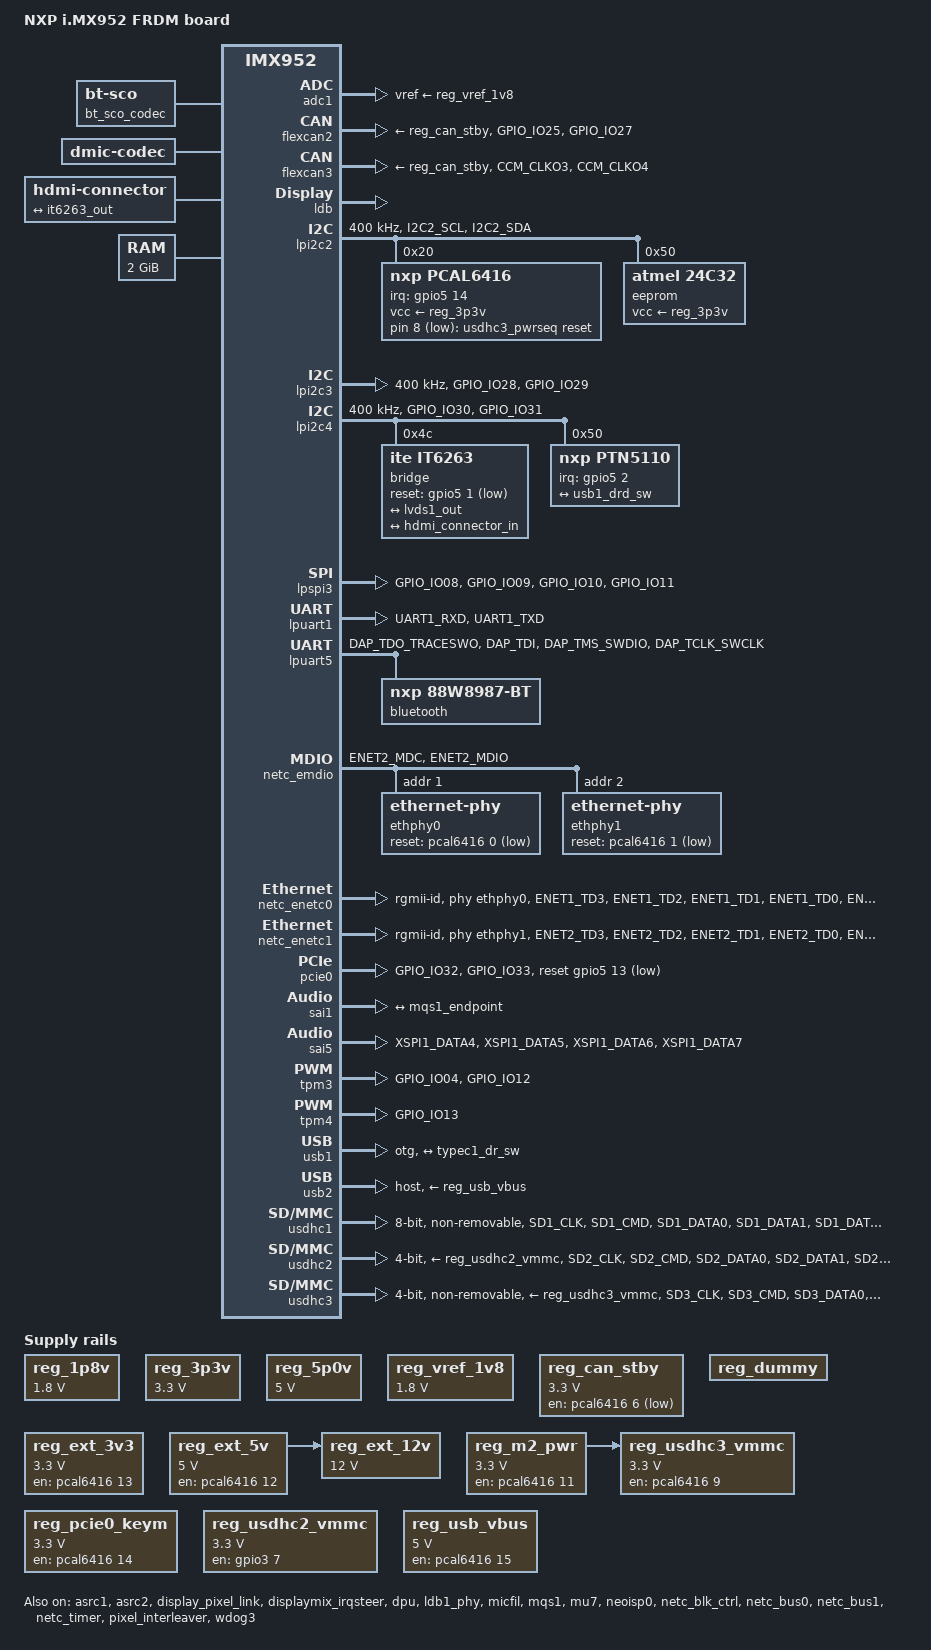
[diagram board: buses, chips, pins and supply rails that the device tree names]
// SPDX-License-Identifier: (GPL-2.0+ OR MIT)
/*
 * Copyright 2026 NXP
 */

#include <dt-bindings/usb/pd.h>

#define FALLING_EDGE		BIT(0)
#define RISING_EDGE		BIT(1)

#define BRD_SM_CTRL_SD3_WAKE		0x8000U /*!< PCAL6408A-0 */
#define BRD_SM_CTRL_M2M_WAKE		0x8003U /*!< PCAL6408A-6 */
#define BRD_SM_CTRL_BUTTON		0x8004U /*!< PCAL6408A-7 */

&ele_if0 {
	memory-region = <&ele_reserved>;
};

/ {
	compatible = "fsl,imx952-frdm", "fsl,imx952";
	model = "NXP i.MX952 FRDM board";

	aliases {
		dphy0 = &dphy_rx_0;
		dphy1 = &dphy_rx_1;
		ethernet0 = &netc_enetc0;
		ethernet1 = &netc_enetc1;
		gpio0 = &gpio1;
		gpio1 = &gpio2;
		gpio2 = &gpio3;
		gpio3 = &gpio4;
		gpio4 = &gpio5;
		i2c0 = &lpi2c1;
		i2c1 = &lpi2c2;
		i2c2 = &lpi2c3;
		i2c3 = &lpi2c4;
		i2c4 = &lpi2c5;
		i2c5 = &lpi2c6;
		i2c6 = &lpi2c7;
		i2c7 = &lpi2c8;
		mmc0 = &usdhc1;
		mmc1 = &usdhc2;
		serial0 = &lpuart1;
		serial4 = &lpuart5;
		spi2 = &lpspi3;
	};

	bt_sco_codec: audio-codec-bt-sco {
		compatible = "linux,bt-sco";
		#sound-dai-cells = <1>;
	};

	chosen {
		#address-cells = <2>;
		#size-cells = <2>;
		stdout-path = &lpuart1;

		/* will be updated by U-boot when booting Xen */
		module@0 {
			compatible = "xen,linux-zimage", "xen,multiboot-module";
			reg = <0x00000000 0x9e000000 0x00000000 0x2000000>;
			bootargs = "earlycon=xen console=hvc0 loglevel=8 root=/dev/mmcblk1p2 rw rootwait";
		};
	};

	dmic: dmic {
		compatible = "dmic-codec";
		#sound-dai-cells = <0>;
		num-channels = <2>;
	};

	hdmi-connector {
		compatible = "hdmi-connector";
		label = "hdmi";
		type = "a";

		port {
			hdmi_connector_in: endpoint {
				remote-endpoint = <&it6263_out>;
			};
		};
	};

	cm7: imx95-cm7 {
		compatible = "fsl,imx95-cm7";
		mboxes = <&mu7 0 1
			&mu7 1 1
			&mu7 3 1>;
		mbox-names = "tx", "rx", "rxdb";
		memory-region = <&vdevbuffer>, <&vdev0vring0>, <&vdev0vring1>,
				<&vdev1vring0>, <&vdev1vring1>, <&rsc_table>;
		/* cpuid and lmmid must align with SM firmware */
		fsl,cpu-id = <1>;
		fsl,lmm-id = <1>;
		fsl,startup-delay-ms = <50>;
		status = "okay";
	};

	reg_1p8v: regulator-1p8v {
		compatible = "regulator-fixed";
		regulator-name = "+V1.8_SW";
		regulator-max-microvolt = <1800000>;
		regulator-min-microvolt = <1800000>;
	};

	reg_3p3v: regulator-3p3v {
		compatible = "regulator-fixed";
		regulator-name = "+V3.3_SW";
		regulator-max-microvolt = <3300000>;
		regulator-min-microvolt = <3300000>;
	};

	reg_5p0v: regulator-5p0v {
		compatible = "regulator-fixed";
		regulator-name = "+V5.0_SW";
		regulator-max-microvolt = <5000000>;
		regulator-min-microvolt = <5000000>;
	};

	reg_vref_1v8: regulator-adc-vref {
		compatible = "regulator-fixed";
		regulator-name = "vref_1v8";
		regulator-max-microvolt = <1800000>;
		regulator-min-microvolt = <1800000>;
	};

	reg_can_stby: regulator-can-stby {
		compatible = "regulator-fixed";
		regulator-name = "can-stby";
		regulator-max-microvolt = <3300000>;
		regulator-min-microvolt = <3300000>;
		gpio = <&pcal6416 6 GPIO_ACTIVE_LOW>;
	};

	reg_dummy: regulator-dummy {
		compatible = "regulator-fixed";
		regulator-name = "dummy";
	};

	reg_ext_12v: regulator-ext-12v {
		compatible = "regulator-fixed";
		regulator-name = "VCCEXT_12V";
		regulator-max-microvolt = <12000000>;
		regulator-min-microvolt = <12000000>;
		vin-supply = <&reg_ext_5v>;
	};

	reg_ext_3v3: regulator-ext-3v3 {
		compatible = "regulator-fixed";
		regulator-name = "VCCEXT_3V3";
		regulator-max-microvolt = <3300000>;
		regulator-min-microvolt = <3300000>;
		gpio = <&pcal6416 13 GPIO_ACTIVE_HIGH>;
		enable-active-high;
		regulator-always-on;
	};

	reg_ext_5v: regulator-ext-5v {
		compatible = "regulator-fixed";
		regulator-name = "VCCEXT_5V";
		regulator-max-microvolt = <5000000>;
		regulator-min-microvolt = <5000000>;
		gpio = <&pcal6416 12 GPIO_ACTIVE_HIGH>;
		enable-active-high;
		regulator-always-on;
	};

	reg_m2_pwr: regulator-m2-pwr {
		compatible = "regulator-fixed";
		regulator-name = "M.2-power";
		regulator-max-microvolt = <3300000>;
		regulator-min-microvolt = <3300000>;
		gpio = <&pcal6416 11 GPIO_ACTIVE_HIGH>;
		enable-active-high;
	};

	reg_pcie0_keym: regulator-pcie-keym {
		compatible = "regulator-fixed";
		regulator-name = "PCIe slot-power";
		regulator-max-microvolt = <3300000>;
		regulator-min-microvolt = <3300000>;
		gpio = <&pcal6416 14 GPIO_ACTIVE_HIGH>;
		enable-active-high;
	};

	reg_usdhc2_vmmc: regulator-usdhc2 {
		compatible = "regulator-fixed";
		regulator-name = "VDD_SD2_3V3";
		off-on-delay-us = <12000>;
		pinctrl-0 = <&pinctrl_reg_usdhc2_vmmc>;
		pinctrl-names = "default";
		regulator-max-microvolt = <3300000>;
		regulator-min-microvolt = <3300000>;
		gpio = <&gpio3 7 GPIO_ACTIVE_HIGH>;
		enable-active-high;
	};

	reg_usdhc3_vmmc: regulator-usdhc3 {
		compatible = "regulator-fixed";
		regulator-name = "WLAN_EN";
		regulator-max-microvolt = <3300000>;
		regulator-min-microvolt = <3300000>;
		vin-supply = <&reg_m2_pwr>;
		gpio = <&pcal6416 9 GPIO_ACTIVE_HIGH>;
		enable-active-high;
		/*
		 * IW612 wifi chip needs more delay than other wifi chips to complete
		 * the host interface initialization after power up, otherwise the
		 * internal state of IW612 may be unstable, resulting in the failure of
		 * the SDIO3.0 switch voltage.
		 */
		startup-delay-us = <20000>;
	};

	reg_usb_vbus: regulator-vbus {
		compatible = "regulator-fixed";
		regulator-name = "USB_VBUS";
		regulator-max-microvolt = <5000000>;
		regulator-min-microvolt = <5000000>;
		gpio = <&pcal6416 15 GPIO_ACTIVE_HIGH>;
		enable-active-high;
	};

	reserved-memory {
		ranges;
		#address-cells = <2>;
		#size-cells = <2>;

		linux_cma: linux,cma {
			compatible = "shared-dma-pool";
			alloc-ranges = <0 0x80000000 0 0x7f000000>;
			reusable;
			size = <0 0x3c000000>;
			linux,cma-default;
		};

		mali_protected: mali_protected {
			reg = <0 0xa0100000 0 0x1000000>;
			no-map;
		};

		vdev0vring0: vdev0vring0@88000000 {
			reg = <0 0x88000000 0 0x8000>;
			no-map;
		};

		vdev0vring1: vdev0vring1@88008000 {
			reg = <0 0x88008000 0 0x8000>;
			no-map;
		};

		vdev1vring0: vdev1vring0@88010000 {
			reg = <0 0x88010000 0 0x8000>;
			no-map;
		};

		vdev1vring1: vdev1vring1@88018000 {
			reg = <0 0x88018000 0 0x8000>;
			no-map;
		};

		vdevbuffer: vdevbuffer@88020000 {
			compatible = "shared-dma-pool";
			reg = <0 0x88020000 0 0x100000>;
			no-map;
		};

		rsc_table: rsc-table@88220000 {
			reg = <0 0x88220000 0 0x1000>;
			no-map;
		};

		vpudec_boot: vpudec-boot@88300000 {
			reg = <0 0x88300000 0 0x200000>;
			no-map;
		};

		vpuenc_boot: vpuenc-boot@88500000 {
			reg = <0 0x88500000 0 0x100000>;
			no-map;
		};

		ele_reserved: ele-reserved@a4120000 {
			compatible = "shared-dma-pool";
			reg = <0 0xa4120000 0 0x100000>;
			no-map;
		};

		prime_reserved: prime-reserved@170000000 {
			compatible = "shared-dma-pool";
			reg = <0x00000001 0x70000000 0x00000000 0x10000000>;
			no-map;
		};
	};

	mali_pma: protected-memory-allocator {
		compatible = "arm,protected-memory-allocator";
		memory-region = <&mali_protected>;
	};

	sound-bt-sco {
		compatible = "simple-audio-card";
		simple-audio-card,bitclock-inversion;
		simple-audio-card,bitclock-master = <&btcpu>;
		simple-audio-card,format = "dsp_a";
		simple-audio-card,frame-master = <&btcpu>;
		simple-audio-card,name = "bt-sco-audio";

		simple-audio-card,codec {
			sound-dai = <&bt_sco_codec 1>;
		};

		btcpu: simple-audio-card,cpu {
			dai-tdm-slot-num = <2>;
			dai-tdm-slot-width = <16>;
			sound-dai = <&sai5>;
		};
	};

	sound-micfil {
		compatible = "fsl,imx-audio-card";
		model = "micfil-audio";

		pri-dai-link {
			format = "i2s";
			link-name = "micfil hifi";

			codec {
				sound-dai = <&dmic>;
			};

			cpu {
				sound-dai = <&micfil>;
			};
		};
	};

	sound-mqs {
		compatible = "audio-graph-card2";
		label = "mqs-audio";
		links = <&sai1_port1>;
	};

	usdhc3_pwrseq: usdhc3-pwrseq {
		compatible = "mmc-pwrseq-simple";
		reset-gpios = <&pcal6416 8 GPIO_ACTIVE_LOW>;
	};

	memory@80000000 {
		device_type = "memory";
		reg = <0x0 0x80000000 0 0x80000000>;
	};
};

&adc1 {
	vref-supply = <&reg_vref_1v8>;
	status = "okay";
};

&asrc1 {
	assigned-clocks = <&scmi_clk IMX952_CLK_AUDIOPLL1_VCO>,
			  <&scmi_clk IMX952_CLK_AUDIOPLL2_VCO>,
			  <&scmi_clk IMX952_CLK_AUDIOPLL1>,
			  <&scmi_clk IMX952_CLK_AUDIOPLL2>,
			  <&scmi_clk IMX952_CLK_ASRC1>;
	assigned-clock-parents = <0>, <0>, <0>, <0>,
				 <&scmi_clk IMX952_CLK_AUDIOPLL1>;
	assigned-clock-rates = <3932160000>, <3612672000>,
			       <393216000>, <361267200>, <49152000>;
	fsl,asrc-rate = <48000>;
	status = "okay";
};

&asrc2 {
	assigned-clocks = <&scmi_clk IMX952_CLK_AUDIOPLL1_VCO>,
			  <&scmi_clk IMX952_CLK_AUDIOPLL2_VCO>,
			  <&scmi_clk IMX952_CLK_AUDIOPLL1>,
			  <&scmi_clk IMX952_CLK_AUDIOPLL2>,
			  <&scmi_clk IMX952_CLK_ASRC2>;
	assigned-clock-parents = <0>, <0>, <0>, <0>,
				 <&scmi_clk IMX952_CLK_AUDIOPLL1>;
	assigned-clock-rates = <3932160000>, <3612672000>,
			       <393216000>, <361267200>, <49152000>;
	fsl,asrc-rate = <48000>;
	status = "okay";
};

&display_pixel_link {
	status = "okay";
};

&displaymix_irqsteer {
	status = "okay";
};

&dpu {
	status = "okay";
};

&flexcan2 {
	pinctrl-0 = <&pinctrl_flexcan2>;
	pinctrl-names = "default";
	xceiver-supply = <&reg_can_stby>;
	status = "okay";
};

&flexcan3 {
	pinctrl-0 = <&pinctrl_flexcan3>;
	pinctrl-names = "default";
	xceiver-supply = <&reg_can_stby>;
	status = "okay";
};

&ldb1_phy {
	status = "okay";
};

&ldb {
	status = "okay";

	channel@1 {
		status = "okay";

		port@1 {
			lvds1_out: endpoint {
				remote-endpoint = <&it6263_in>;
			};
		};
	};
};

&lpi2c2 {
	clock-frequency = <400000>;
	pinctrl-0 = <&pinctrl_lpi2c2>;
	pinctrl-names = "default";
	status = "okay";

	pcal6416: gpio@20 {
		compatible = "nxp,pcal6416";
		reg = <0x20>;
		#interrupt-cells = <2>;
		interrupt-controller;
		interrupt-parent = <&gpio5>;
		interrupts = <14 IRQ_TYPE_LEVEL_LOW>;
		#gpio-cells = <2>;
		gpio-controller;
		pinctrl-0 = <&pinctrl_pcal6416>;
		pinctrl-names = "default";
		vcc-supply = <&reg_3p3v>;

		/* When low, select CAN; When high, select gpio. */
		can-gpio-sel-hog {
			gpios = <4 GPIO_ACTIVE_HIGH>;
			gpio-hog;
			output-low;
		};
	};

	eeprom@50 {
		compatible = "atmel,24c32";
		reg = <0x50>;
		pagesize = <32>;
		vcc-supply = <&reg_3p3v>;
	};
};

&lpi2c3 {
	clock-frequency = <400000>;
	pinctrl-0 = <&pinctrl_lpi2c3>;
	pinctrl-names = "default";
	status = "okay";
};

&lpi2c4 {
	clock-frequency = <400000>;
	pinctrl-0 = <&pinctrl_lpi2c4>;
	pinctrl-names = "default";
	status = "okay";

	bridge@4c {
		compatible = "ite,it6263";
		reg = <0x4c>;
		pinctrl-0 = <&pinctrl_it6263>;
		pinctrl-names = "default";
		reset-gpios = <&gpio5 1 GPIO_ACTIVE_LOW>;

		ports {
			#address-cells = <1>;
			#size-cells = <0>;

			port@0 {
				reg = <0>;

				it6263_in: endpoint {
					remote-endpoint = <&lvds1_out>;
				};
			};

			port@1 {
				reg = <1>;

				it6263_out: endpoint {
					remote-endpoint = <&hdmi_connector_in>;
				};
			};
		};
	};

	ptn5110: tcpc@50 {
		compatible = "nxp,ptn5110", "tcpci";
		reg = <0x50>;
		interrupt-parent = <&gpio5>;
		interrupts = <2 IRQ_TYPE_LEVEL_LOW>;
		pinctrl-0 = <&pinctrl_ptn5110>;
		pinctrl-names = "default";

		typec_con: connector {
			compatible = "usb-c-connector";
			data-role = "dual";
			label = "USB-C";
			op-sink-microwatt = <0>;
			power-role = "dual";
			self-powered;
			sink-pdos = <PDO_FIXED(5000, 0, PDO_FIXED_USB_COMM)>;
			source-pdos = <PDO_FIXED(5000, 3000, PDO_FIXED_USB_COMM)>;
			try-power-role = "sink";

			ports {
				#address-cells = <1>;
				#size-cells = <0>;

				port@0 {
					reg = <0>;

					typec1_dr_sw: endpoint {
						remote-endpoint = <&usb1_drd_sw>;
					};
				};
			};
		};
	};
};

&lpspi3 {
	cs-gpios = <&gpio2 8 GPIO_ACTIVE_LOW>;
	pinctrl-0 = <&pinctrl_lpspi3>;
	pinctrl-names = "default";
	status = "okay";
};

&lpuart1 {
	/* console */
	pinctrl-names = "default";
	pinctrl-0 = <&pinctrl_uart1>;
	status = "okay";
};

&lpuart5 {
	/* BT */
	pinctrl-names = "default";
	pinctrl-0 = <&pinctrl_uart5>;
	status = "okay";

	bluetooth {
		compatible = "nxp,88w8987-bt";
	};
};

&micfil {
	assigned-clocks = <&scmi_clk IMX952_CLK_AUDIOPLL1_VCO>,
			  <&scmi_clk IMX952_CLK_AUDIOPLL2_VCO>,
			  <&scmi_clk IMX952_CLK_AUDIOPLL1>,
			  <&scmi_clk IMX952_CLK_AUDIOPLL2>,
			  <&scmi_clk IMX952_CLK_PDM>;
	assigned-clock-parents = <0>, <0>, <0>, <0>,
				<&scmi_clk IMX952_CLK_AUDIOPLL1>;
	assigned-clock-rates = <3932160000>, <3612672000>,
			       <393216000>, <361267200>, <49152000>;
	pinctrl-0 = <&pinctrl_pdm>;
	pinctrl-1 = <&pinctrl_pdm_sleep>;
	pinctrl-names = "default", "sleep";
	status = "okay";
};

&mqs1 {
	clocks = <&scmi_clk IMX952_CLK_SAI1>;
	clock-names = "mclk";
	#sound-dai-cells = <0>;
	pinctrl-0 = <&pinctrl_mqs1>;
	pinctrl-names = "default";
	status = "okay";

	mqs1_port: port {
		dai-format = "left_j";
		playback-only;

		mqs1_endpoint: endpoint {
			remote-endpoint = <&sai1_endpoint1>;
		};
	};
};

&mu7 {
	status = "okay";
};

&neoisp0 {
	status = "okay";
};

&netc_blk_ctrl {
	status = "okay";
};

&netc_bus0 {
	status = "okay";
};

&netc_bus1 {
	status = "okay";
};

&netc_emdio {
	pinctrl-0 = <&pinctrl_emdio>;
	pinctrl-names = "default";
	status = "okay";

	ethphy0: ethernet-phy@1 {
		reg = <1>;
		reset-assert-us = <10000>;
		reset-deassert-us = <80000>;
		reset-gpios = <&pcal6416 0 GPIO_ACTIVE_LOW>;
	};

	ethphy1: ethernet-phy@2 {
		reg = <2>;
		reset-assert-us = <10000>;
		reset-deassert-us = <80000>;
		reset-gpios = <&pcal6416 1 GPIO_ACTIVE_LOW>;
	};
};

&netc_enetc0 {
	phy-handle = <&ethphy0>;
	phy-mode = "rgmii-id";
	pinctrl-0 = <&pinctrl_enetc0>;
	pinctrl-names = "default";
	status = "okay";
};

&netc_enetc1 {
	clocks = <&scmi_clk IMX952_CLK_ENETREF>;
	clock-names = "ref";
	phy-handle = <&ethphy1>;
	phy-mode = "rgmii-id";
	pinctrl-0 = <&pinctrl_enetc1>;
	pinctrl-names = "default";
	status = "okay";
};

&netc_timer {
	status = "okay";
};

&pcie0 {
	pinctrl-0 = <&pinctrl_pcie0>;
	pinctrl-names = "default";
	reset-gpio = <&gpio5 13 GPIO_ACTIVE_LOW>;
	supports-clkreq;
	vpcie3v3aux-supply = <&reg_pcie0_keym>;
	status = "okay";
};

&pixel_interleaver {
	#address-cells = <1>;
	#size-cells = <0>;
	status = "okay";

	channel@1 {
		reg = <1>;
		status = "okay";
	};
};

&sai1 {
	clocks = <&scmi_clk IMX952_CLK_BUSAON>, <&clk_dummy>,
		 <&scmi_clk IMX952_CLK_SAI1>, <&clk_dummy>,
		 <&clk_dummy>, <&scmi_clk IMX952_CLK_AUDIOPLL1>,
		 <&scmi_clk IMX952_CLK_AUDIOPLL2>;
	clock-names = "bus", "mclk0", "mclk1", "mclk2", "mclk3", "pll8k", "pll11k";
	assigned-clocks = <&scmi_clk IMX952_CLK_AUDIOPLL1_VCO>,
			  <&scmi_clk IMX952_CLK_AUDIOPLL2_VCO>,
			  <&scmi_clk IMX952_CLK_AUDIOPLL1>,
			  <&scmi_clk IMX952_CLK_AUDIOPLL2>,
			  <&scmi_clk IMX952_CLK_SAI1>;
	assigned-clock-parents = <0>, <0>, <0>, <0>,
				 <&scmi_clk IMX952_CLK_AUDIOPLL1>;
	assigned-clock-rates = <3932160000>, <3612672000>,
			       <393216000>, <361267200>, <24576000>;
	fsl,sai-mclk-direction-output;
	status = "okay";

	ports {
		#address-cells = <1>;
		#size-cells = <0>;

		sai1_port1: port@1 {
			reg = <1>;
			bitclock-master;
			dai-format = "left_j";
			frame-master;
			mclk-fs = <512>;
			playback-only;

			sai1_endpoint1: endpoint {
				remote-endpoint = <&mqs1_endpoint>;
				system-clock-direction-out;
			};
		};
	};
};

&sai5 {
	assigned-clocks = <&scmi_clk IMX952_CLK_AUDIOPLL1_VCO>,
			  <&scmi_clk IMX952_CLK_AUDIOPLL2_VCO>,
			  <&scmi_clk IMX952_CLK_AUDIOPLL1>,
			  <&scmi_clk IMX952_CLK_AUDIOPLL2>,
			  <&scmi_clk IMX952_CLK_SAI5>;
	assigned-clock-parents = <0>, <0>, <0>, <0>, <&scmi_clk IMX952_CLK_AUDIOPLL1>;
	assigned-clock-rates = <3932160000>, <3612672000>, <393216000>, <361267200>, <12288000>;
	#sound-dai-cells = <0>;
	pinctrl-0 = <&pinctrl_sai5>;
	pinctrl-names = "default";
	fsl,sai-mclk-direction-output;
	status = "okay";
};

&scmi_iomuxc {
	pinctrl_emdio: emdiogrp {
		fsl,pins = <
			IMX952_PAD_ENET2_MDC__NETCMIX_TOP_NETC_MDC		0x50e
			IMX952_PAD_ENET2_MDIO__NETCMIX_TOP_NETC_MDIO		0x90e
		>;
	};

	pinctrl_enetc0: enetc0grp {
		fsl,pins = <
			IMX952_PAD_ENET1_TD3__NETCMIX_TOP_ETH0_RGMII_TD3	0x50e
			IMX952_PAD_ENET1_TD2__NETCMIX_TOP_ETH0_RGMII_TD2	0x50e
			IMX952_PAD_ENET1_TD1__NETCMIX_TOP_ETH0_RGMII_TD1	0x50e
			IMX952_PAD_ENET1_TD0__NETCMIX_TOP_ETH0_RGMII_TD0	0x50e
			IMX952_PAD_ENET1_TX_CTL__NETCMIX_TOP_ETH0_RGMII_TX_CTL	0x50e
			IMX952_PAD_ENET1_TXC__NETCMIX_TOP_ETH0_RGMII_TX_CLK	0x58e
			IMX952_PAD_ENET1_RX_CTL__NETCMIX_TOP_ETH0_RGMII_RX_CTL	0x50e
			IMX952_PAD_ENET1_RXC__NETCMIX_TOP_ETH0_RGMII_RX_CLK	0x58e
			IMX952_PAD_ENET1_RD0__NETCMIX_TOP_ETH0_RGMII_RD0	0x50e
			IMX952_PAD_ENET1_RD1__NETCMIX_TOP_ETH0_RGMII_RD1	0x50e
			IMX952_PAD_ENET1_RD2__NETCMIX_TOP_ETH0_RGMII_RD2	0x50e
			IMX952_PAD_ENET1_RD3__NETCMIX_TOP_ETH0_RGMII_RD3	0x50e
		>;
	};

	pinctrl_enetc1: enetc1grp {
		fsl,pins = <
			IMX952_PAD_ENET2_TD3__NETCMIX_TOP_ETH1_RGMII_TD3	0x50e
			IMX952_PAD_ENET2_TD2__NETCMIX_TOP_ETH1_RGMII_TD2	0x50e
			IMX952_PAD_ENET2_TD1__NETCMIX_TOP_ETH1_RGMII_TD1	0x50e
			IMX952_PAD_ENET2_TD0__NETCMIX_TOP_ETH1_RGMII_TD0	0x50e
			IMX952_PAD_ENET2_TX_CTL__NETCMIX_TOP_ETH1_RGMII_TX_CTL	0x50e
			IMX952_PAD_ENET2_TXC__NETCMIX_TOP_ETH1_RGMII_TX_CLK	0x58e
			IMX952_PAD_ENET2_RX_CTL__NETCMIX_TOP_ETH1_RGMII_RX_CTL	0x50e
			IMX952_PAD_ENET2_RXC__NETCMIX_TOP_ETH1_RGMII_RX_CLK	0x58e
			IMX952_PAD_ENET2_RD0__NETCMIX_TOP_ETH1_RGMII_RD0	0x50e
			IMX952_PAD_ENET2_RD1__NETCMIX_TOP_ETH1_RGMII_RD1	0x50e
			IMX952_PAD_ENET2_RD2__NETCMIX_TOP_ETH1_RGMII_RD2	0x50e
			IMX952_PAD_ENET2_RD3__NETCMIX_TOP_ETH1_RGMII_RD3	0x50e
		>;
	};

	pinctrl_flexcan2: flexcan2grp {
		fsl,pins = <
			IMX952_PAD_GPIO_IO25__WAKEUPMIX_TOP_CAN2_TX		0x39e
			IMX952_PAD_GPIO_IO27__WAKEUPMIX_TOP_CAN2_RX		0x39e
		>;
	};

	pinctrl_flexcan3: flexcan3grp {
		fsl,pins = <
			IMX952_PAD_CCM_CLKO3__WAKEUPMIX_TOP_CAN3_TX		0x39e
			IMX952_PAD_CCM_CLKO4__WAKEUPMIX_TOP_CAN3_RX		0x39e
		>;
	};

	pinctrl_it6263: it6263grp {
		fsl,pins = <
			IMX952_PAD_XSPI1_DATA1__WAKEUPMIX_TOP_GPIO5_IO_1	0x31e
		>;
	};

	pinctrl_lpi2c2: lpi2c2grp {
		fsl,pins = <
			IMX952_PAD_I2C2_SCL__AONMIX_TOP_LPI2C2_SCL		0x40000b9e
			IMX952_PAD_I2C2_SDA__AONMIX_TOP_LPI2C2_SDA		0x40000b9e
		>;
	};

	pinctrl_lpi2c3: lpi2c3grp {
		fsl,pins = <
			IMX952_PAD_GPIO_IO28__WAKEUPMIX_TOP_LPI2C3_SDA		0x40000b9e
			IMX952_PAD_GPIO_IO29__WAKEUPMIX_TOP_LPI2C3_SCL		0x40000b9e
		>;
	};

	pinctrl_lpi2c4: lpi2c4grp {
		fsl,pins = <
			IMX952_PAD_GPIO_IO30__WAKEUPMIX_TOP_LPI2C4_SDA		0x40000b9e
			IMX952_PAD_GPIO_IO31__WAKEUPMIX_TOP_LPI2C4_SCL		0x40000b9e
		>;
	};

	pinctrl_lpspi3: lpspi3grp {
		fsl,pins = <
			IMX952_PAD_GPIO_IO08__WAKEUPMIX_TOP_GPIO2_IO_8		0x39e
			IMX952_PAD_GPIO_IO09__WAKEUPMIX_TOP_LPSPI3_SIN		0x39e
			IMX952_PAD_GPIO_IO10__WAKEUPMIX_TOP_LPSPI3_SOUT		0x39e
			IMX952_PAD_GPIO_IO11__WAKEUPMIX_TOP_LPSPI3_SCK		0x39e
		>;
	};

	pinctrl_mqs1: mqs1grp {
		fsl,pins = <
			IMX952_PAD_SAI1_TXFS__AONMIX_TOP_MQS1_LEFT		0x31e
			IMX952_PAD_SAI1_RXD0__AONMIX_TOP_MQS1_RIGHT		0x31e
		>;
	};

	pinctrl_pcal6416: pcal6416grp {
		fsl,pins = <
			IMX952_PAD_GPIO_IO34__WAKEUPMIX_TOP_GPIO5_IO_14		0x31e
		>;
	};

	pinctrl_pcie0: pcie0grp {
		fsl,pins = <
			IMX952_PAD_GPIO_IO32__HSIOMIX_TOP_PCIE1_CLKREQ_B	0x4000031e
			IMX952_PAD_GPIO_IO33__WAKEUPMIX_TOP_GPIO5_IO_13		0x31e
		>;
	};

	pinctrl_pdm: pdmgrp {
		fsl,pins = <
			IMX952_PAD_PDM_CLK__AONMIX_TOP_PDM_CLK				0x31e
			IMX952_PAD_PDM_BIT_STREAM0__AONMIX_TOP_PDM_BIT_STREAM_0		0x31e
		>;
	};

	pinctrl_pdm_sleep: pdmsleepgrp {
		fsl,pins = <
			IMX952_PAD_PDM_CLK__AONMIX_TOP_GPIO1_IO_8		0x31e
			IMX952_PAD_PDM_BIT_STREAM0__AONMIX_TOP_GPIO1_IO_9	0x31e
		>;
	};

	pinctrl_ptn5110: ptn5110grp {
		fsl,pins = <
			IMX952_PAD_XSPI1_DATA2__WAKEUPMIX_TOP_GPIO5_IO_2	0x31e
		>;
	};

	pinctrl_reg_usdhc2_vmmc: regusdhc2vmmcgrp {
		fsl,pins = <
			IMX952_PAD_SD2_RESET_B__WAKEUPMIX_TOP_GPIO3_IO_7	0x31e
		>;
	};

	pinctrl_sai5: sai5grp {
		fsl,pins = <
			IMX952_PAD_XSPI1_DATA4__WAKEUPMIX_TOP_SAI5_TX_DATA_0		0x31e
			IMX952_PAD_XSPI1_DATA5__WAKEUPMIX_TOP_SAI5_TX_SYNC		0x31e
			IMX952_PAD_XSPI1_DATA6__WAKEUPMIX_TOP_SAI5_TX_BCLK		0x31e
			IMX952_PAD_XSPI1_DATA7__WAKEUPMIX_TOP_SAI5_RX_DATA_0		0x31e
		>;
	};

	pinctrl_tpm3: tpm3grp {
		fsl,pins = <
			IMX952_PAD_GPIO_IO04__WAKEUPMIX_TOP_TPM3_CH0		0x51e
			IMX952_PAD_GPIO_IO12__WAKEUPMIX_TOP_TPM3_CH2		0x51e
		>;
	};

	pinctrl_tpm4: tpm4grp {
		fsl,pins = <
			IMX952_PAD_GPIO_IO13__WAKEUPMIX_TOP_TPM4_CH2		0x51e
		>;
	};

	pinctrl_uart1: uart1grp {
		fsl,pins = <
			IMX952_PAD_UART1_RXD__AONMIX_TOP_LPUART1_RX		0x31e
			IMX952_PAD_UART1_TXD__AONMIX_TOP_LPUART1_TX		0x31e
		>;
	};

	pinctrl_uart5: uart5grp {
		fsl,pins = <
			IMX952_PAD_DAP_TDO_TRACESWO__WAKEUPMIX_TOP_LPUART5_TX	0x31e
			IMX952_PAD_DAP_TDI__WAKEUPMIX_TOP_LPUART5_RX		0x31e
			IMX952_PAD_DAP_TMS_SWDIO__WAKEUPMIX_TOP_LPUART5_RTS_B	0x31e
			IMX952_PAD_DAP_TCLK_SWCLK__WAKEUPMIX_TOP_LPUART5_CTS_B	0x31e
		>;
	};

	pinctrl_usdhc1: usdhc1grp {
		fsl,pins = <
			IMX952_PAD_SD1_CLK__WAKEUPMIX_TOP_USDHC1_CLK		0x158e
			IMX952_PAD_SD1_CMD__WAKEUPMIX_TOP_USDHC1_CMD		0x138e
			IMX952_PAD_SD1_DATA0__WAKEUPMIX_TOP_USDHC1_DATA0	0x138e
			IMX952_PAD_SD1_DATA1__WAKEUPMIX_TOP_USDHC1_DATA1	0x138e
			IMX952_PAD_SD1_DATA2__WAKEUPMIX_TOP_USDHC1_DATA2	0x138e
			IMX952_PAD_SD1_DATA3__WAKEUPMIX_TOP_USDHC1_DATA3	0x138e
			IMX952_PAD_SD1_DATA4__WAKEUPMIX_TOP_USDHC1_DATA4	0x138e
			IMX952_PAD_SD1_DATA5__WAKEUPMIX_TOP_USDHC1_DATA5	0x138e
			IMX952_PAD_SD1_DATA6__WAKEUPMIX_TOP_USDHC1_DATA6	0x138e
			IMX952_PAD_SD1_DATA7__WAKEUPMIX_TOP_USDHC1_DATA7	0x138e
			IMX952_PAD_SD1_STROBE__WAKEUPMIX_TOP_USDHC1_STROBE	0x158e
		>;
	};

	pinctrl_usdhc1_100mhz: usdhc1-100mhzgrp {
		fsl,pins = <
			IMX952_PAD_SD1_CLK__WAKEUPMIX_TOP_USDHC1_CLK		0x158e
			IMX952_PAD_SD1_CMD__WAKEUPMIX_TOP_USDHC1_CMD		0x138e
			IMX952_PAD_SD1_DATA0__WAKEUPMIX_TOP_USDHC1_DATA0	0x138e
			IMX952_PAD_SD1_DATA1__WAKEUPMIX_TOP_USDHC1_DATA1	0x138e
			IMX952_PAD_SD1_DATA2__WAKEUPMIX_TOP_USDHC1_DATA2	0x138e
			IMX952_PAD_SD1_DATA3__WAKEUPMIX_TOP_USDHC1_DATA3	0x138e
			IMX952_PAD_SD1_DATA4__WAKEUPMIX_TOP_USDHC1_DATA4	0x138e
			IMX952_PAD_SD1_DATA5__WAKEUPMIX_TOP_USDHC1_DATA5	0x138e
			IMX952_PAD_SD1_DATA6__WAKEUPMIX_TOP_USDHC1_DATA6	0x138e
			IMX952_PAD_SD1_DATA7__WAKEUPMIX_TOP_USDHC1_DATA7	0x138e
			IMX952_PAD_SD1_STROBE__WAKEUPMIX_TOP_USDHC1_STROBE	0x158e
		>;
	};

	pinctrl_usdhc1_200mhz: usdhc1-200mhzgrp {
		fsl,pins = <
			IMX952_PAD_SD1_CLK__WAKEUPMIX_TOP_USDHC1_CLK		0x159e
			IMX952_PAD_SD1_CMD__WAKEUPMIX_TOP_USDHC1_CMD		0x139e
			IMX952_PAD_SD1_DATA0__WAKEUPMIX_TOP_USDHC1_DATA0	0x139e
			IMX952_PAD_SD1_DATA1__WAKEUPMIX_TOP_USDHC1_DATA1	0x139e
			IMX952_PAD_SD1_DATA2__WAKEUPMIX_TOP_USDHC1_DATA2	0x139e
			IMX952_PAD_SD1_DATA3__WAKEUPMIX_TOP_USDHC1_DATA3	0x139e
			IMX952_PAD_SD1_DATA4__WAKEUPMIX_TOP_USDHC1_DATA4	0x139e
			IMX952_PAD_SD1_DATA5__WAKEUPMIX_TOP_USDHC1_DATA5	0x139e
			IMX952_PAD_SD1_DATA6__WAKEUPMIX_TOP_USDHC1_DATA6	0x139e
			IMX952_PAD_SD1_DATA7__WAKEUPMIX_TOP_USDHC1_DATA7	0x139e
			IMX952_PAD_SD1_STROBE__WAKEUPMIX_TOP_USDHC1_STROBE	0x159e
		>;
	};

	pinctrl_usdhc2_gpio: usdhc2gpiogrp {
		fsl,pins = <
			IMX952_PAD_SD2_CD_B__WAKEUPMIX_TOP_GPIO3_IO_0		0x31e
		>;
	};

	pinctrl_usdhc2: usdhc2grp {
		fsl,pins = <
			IMX952_PAD_SD2_CLK__WAKEUPMIX_TOP_USDHC2_CLK		0x158e
			IMX952_PAD_SD2_CMD__WAKEUPMIX_TOP_USDHC2_CMD		0x138e
			IMX952_PAD_SD2_DATA0__WAKEUPMIX_TOP_USDHC2_DATA0	0x138e
			IMX952_PAD_SD2_DATA1__WAKEUPMIX_TOP_USDHC2_DATA1	0x138e
			IMX952_PAD_SD2_DATA2__WAKEUPMIX_TOP_USDHC2_DATA2	0x138e
			IMX952_PAD_SD2_DATA3__WAKEUPMIX_TOP_USDHC2_DATA3	0x138e
			IMX952_PAD_SD2_VSELECT__WAKEUPMIX_TOP_USDHC2_VSELECT	0x51e
		>;
	};

	pinctrl_usdhc2_100mhz: usdhc2-100mhzgrp {
		fsl,pins = <
			IMX952_PAD_SD2_CLK__WAKEUPMIX_TOP_USDHC2_CLK		0x158e
			IMX952_PAD_SD2_CMD__WAKEUPMIX_TOP_USDHC2_CMD		0x138e
			IMX952_PAD_SD2_DATA0__WAKEUPMIX_TOP_USDHC2_DATA0	0x138e
			IMX952_PAD_SD2_DATA1__WAKEUPMIX_TOP_USDHC2_DATA1	0x138e
			IMX952_PAD_SD2_DATA2__WAKEUPMIX_TOP_USDHC2_DATA2	0x138e
			IMX952_PAD_SD2_DATA3__WAKEUPMIX_TOP_USDHC2_DATA3	0x138e
			IMX952_PAD_SD2_VSELECT__WAKEUPMIX_TOP_USDHC2_VSELECT	0x51e
		>;
	};

	pinctrl_usdhc2_200mhz: usdhc2-200mhzgrp {
		fsl,pins = <
			IMX952_PAD_SD2_CLK__WAKEUPMIX_TOP_USDHC2_CLK		0x158e
			IMX952_PAD_SD2_CMD__WAKEUPMIX_TOP_USDHC2_CMD		0x138e
			IMX952_PAD_SD2_DATA0__WAKEUPMIX_TOP_USDHC2_DATA0	0x138e
			IMX952_PAD_SD2_DATA1__WAKEUPMIX_TOP_USDHC2_DATA1	0x138e
			IMX952_PAD_SD2_DATA2__WAKEUPMIX_TOP_USDHC2_DATA2	0x138e
			IMX952_PAD_SD2_DATA3__WAKEUPMIX_TOP_USDHC2_DATA3	0x138e
			IMX952_PAD_SD2_VSELECT__WAKEUPMIX_TOP_USDHC2_VSELECT	0x51e
		>;
	};

	pinctrl_usdhc3: usdhc3grp {
		fsl,pins = <
			IMX952_PAD_SD3_CLK__WAKEUPMIX_TOP_USDHC3_CLK			0x158e
			IMX952_PAD_SD3_CMD__WAKEUPMIX_TOP_USDHC3_CMD			0x138e
			IMX952_PAD_SD3_DATA0__WAKEUPMIX_TOP_USDHC3_DATA0		0x138e
			IMX952_PAD_SD3_DATA1__WAKEUPMIX_TOP_USDHC3_DATA1		0x138e
			IMX952_PAD_SD3_DATA2__WAKEUPMIX_TOP_USDHC3_DATA2		0x138e
			IMX952_PAD_SD3_DATA3__WAKEUPMIX_TOP_USDHC3_DATA3		0x138e
		>;
	};

	pinctrl_usdhc3_100mhz: usdhc3-100mhzgrp {
		fsl,pins = <
			IMX952_PAD_SD3_CLK__WAKEUPMIX_TOP_USDHC3_CLK			0x158e
			IMX952_PAD_SD3_CMD__WAKEUPMIX_TOP_USDHC3_CMD			0x138e
			IMX952_PAD_SD3_DATA0__WAKEUPMIX_TOP_USDHC3_DATA0		0x138e
			IMX952_PAD_SD3_DATA1__WAKEUPMIX_TOP_USDHC3_DATA1		0x138e
			IMX952_PAD_SD3_DATA2__WAKEUPMIX_TOP_USDHC3_DATA2		0x138e
			IMX952_PAD_SD3_DATA3__WAKEUPMIX_TOP_USDHC3_DATA3		0x138e
		>;
	};

	pinctrl_usdhc3_200mhz: usdhc3-200mhzgrp {
		fsl,pins = <
			IMX952_PAD_SD3_CLK__WAKEUPMIX_TOP_USDHC3_CLK			0x158e
			IMX952_PAD_SD3_CMD__WAKEUPMIX_TOP_USDHC3_CMD			0x138e
			IMX952_PAD_SD3_DATA0__WAKEUPMIX_TOP_USDHC3_DATA0		0x138e
			IMX952_PAD_SD3_DATA1__WAKEUPMIX_TOP_USDHC3_DATA1		0x138e
			IMX952_PAD_SD3_DATA2__WAKEUPMIX_TOP_USDHC3_DATA2		0x138e
			IMX952_PAD_SD3_DATA3__WAKEUPMIX_TOP_USDHC3_DATA3		0x138e
		>;
	};
};

&scmi_misc {
	nxp,ctrl-ids = <BRD_SM_CTRL_SD3_WAKE		1
			BRD_SM_CTRL_M2M_WAKE		1
			BRD_SM_CTRL_BUTTON		1>;
};

&thermal_zones {
	pf09 {
		polling-delay = <2000>;
		polling-delay-passive = <250>;
		thermal-sensors = <&scmi_sensor 2>;

		trips {
			pf09_alert: trip0 {
				hysteresis = <2000>;
				temperature = <140000>;
				type = "passive";
			};

			pf09_crit: trip1 {
				hysteresis = <2000>;
				temperature = <155000>;
				type = "critical";
			};
		};
	};

	pf53_soc {
		polling-delay = <2000>;
		polling-delay-passive = <250>;
		thermal-sensors = <&scmi_sensor 3>;

		trips {
			pf5302_alert: trip0 {
				hysteresis = <2000>;
				temperature = <140000>;
				type = "passive";
			};

			pf5302_crit: trip1 {
				hysteresis = <2000>;
				temperature = <155000>;
				type = "critical";
			};
		};
	};
};

&tpm3 {
	pinctrl-0 = <&pinctrl_tpm3>;
	pinctrl-names = "default";
	status = "okay";
};

&tpm4 {
	pinctrl-0 = <&pinctrl_tpm4>;
	pinctrl-names = "default";
	status = "okay";
};

&usb1 {
	adp-disable;
	disable-over-current;
	dr_mode = "otg";
	hnp-disable;
	srp-disable;
	usb-role-switch;
	samsung,picophy-dc-vol-level-adjust = <7>;
	samsung,picophy-pre-emp-curr-control = <3>;
	status = "okay";

	port {
		usb1_drd_sw: endpoint {
			remote-endpoint = <&typec1_dr_sw>;
		};
	};
};

&usb2 {
	disable-over-current;
	dr_mode = "host";
	vbus-supply = <&reg_usb_vbus>;
	status = "okay";
};

&usdhc1 {
	bus-width = <8>;
	non-removable;
	no-sd;
	no-sdio;
	pinctrl-0 = <&pinctrl_usdhc1>;
	pinctrl-1 = <&pinctrl_usdhc1_100mhz>;
	pinctrl-2 = <&pinctrl_usdhc1_200mhz>;
	pinctrl-3 = <&pinctrl_usdhc1>;
	pinctrl-names = "default", "state_100mhz", "state_200mhz", "sleep";
	status = "okay";
};

&usdhc2 {
	bus-width = <4>;
	cd-gpios = <&gpio3 0 GPIO_ACTIVE_LOW>;
	pinctrl-0 = <&pinctrl_usdhc2>, <&pinctrl_usdhc2_gpio>;
	pinctrl-1 = <&pinctrl_usdhc2_100mhz>, <&pinctrl_usdhc2_gpio>;
	pinctrl-2 = <&pinctrl_usdhc2_200mhz>, <&pinctrl_usdhc2_gpio>;
	pinctrl-3 = <&pinctrl_usdhc2>, <&pinctrl_usdhc2_gpio>;
	pinctrl-names = "default", "state_100mhz", "state_200mhz", "sleep";
	vmmc-supply = <&reg_usdhc2_vmmc>;
	fsl,cd-gpio-wakeup-disable;
	status = "okay";
};

&usdhc3 {
	bus-width = <4>;
	keep-power-in-suspend;
	mmc-pwrseq = <&usdhc3_pwrseq>;
	non-removable;
	pinctrl-0 = <&pinctrl_usdhc3>;
	pinctrl-1 = <&pinctrl_usdhc3_100mhz>;
	pinctrl-2 = <&pinctrl_usdhc3_200mhz>;
	pinctrl-3 = <&pinctrl_usdhc3>;
	pinctrl-names = "default", "state_100mhz", "state_200mhz", "sleep";
	vmmc-supply = <&reg_usdhc3_vmmc>;
	wakeup-source;
	status = "okay";
};

&v2x_mu2 {
	memory-region = <&prime_reserved>;
};

&vpuctrl {
	boot = <&vpudec_boot>;
	sram = <&sram1>;
};

&vpuenc {
	boot = <&vpuenc_boot>;
};

&wdog3 {
	fsl,ext-reset-output;
	status = "okay";
};

&mali {
	protected-memory-allocator = <&mali_pma>;
};
